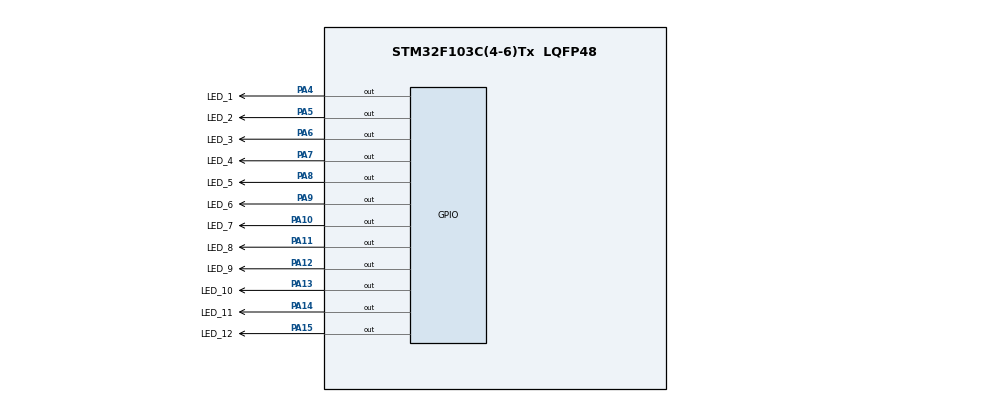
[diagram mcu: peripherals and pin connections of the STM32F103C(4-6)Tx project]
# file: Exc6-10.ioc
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Mcu.Family=STM32F1
Mcu.Name=STM32F103C(4-6)Tx
Mcu.Package=LQFP48
NVIC.PriorityGroup=NVIC_PRIORITYGROUP_4
PA10.GPIO_Label=LED_7
PA10.Signal=GPIO_Output
PA11.GPIO_Label=LED_8
PA11.Signal=GPIO_Output
PA12.GPIO_Label=LED_9
PA12.Signal=GPIO_Output
PA13.GPIO_Label=LED_10
PA13.Signal=GPIO_Output
PA14.GPIO_Label=LED_11
PA14.Signal=GPIO_Output
PA15.GPIO_Label=LED_12
PA15.Signal=GPIO_Output
PA4.GPIO_Label=LED_1
PA4.Signal=GPIO_Output
PA5.GPIO_Label=LED_2
PA5.Signal=GPIO_Output
PA6.GPIO_Label=LED_3
PA6.Signal=GPIO_Output
PA7.GPIO_Label=LED_4
PA7.Signal=GPIO_Output
PA8.GPIO_Label=LED_5
PA8.Signal=GPIO_Output
PA9.GPIO_Label=LED_6
PA9.Signal=GPIO_Output
ProjectManager.HeapSize=0x200
ProjectManager.StackSize=0x400
ProjectManager.TargetToolchain=STM32CubeIDE
RCC.APB1Freq_Value=8000000
RCC.APB2Freq_Value=8000000
VP_SYS_VS_ND.Mode=No_Debug
board=custom

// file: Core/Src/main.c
/* USER CODE BEGIN Header */
/**
  ******************************************************************************
  * @file           : main.c
  * @brief          : Main program body
  ******************************************************************************
  * @attention
  *
  * <h2><center>&copy; Copyright (c) 2023 STMicroelectronics.
  * All rights reserved.</center></h2>
  *
  * This software component is licensed by ST under BSD 3-Clause license,
  * the "License"; You may not use this file except in compliance with the
  * License. You may obtain a copy of the License at:
  *                        opensource.org/licenses/BSD-3-Clause
  *
  ******************************************************************************
  */
/* USER CODE END Header */
#include "main.h"

void SystemClock_Config(void);
static void MX_GPIO_Init(void);

/* USER CODE BEGIN 0 */
void clearAllClock(){
    //TODO
	HAL_GPIO_WritePin(LED_1_GPIO_Port, LED_1_Pin, RESET);
	HAL_GPIO_WritePin(LED_2_GPIO_Port, LED_2_Pin, RESET);
	HAL_GPIO_WritePin(LED_3_GPIO_Port, LED_3_Pin, RESET);
	HAL_GPIO_WritePin(LED_4_GPIO_Port, LED_4_Pin, RESET);
	HAL_GPIO_WritePin(LED_5_GPIO_Port, LED_5_Pin, RESET);
	HAL_GPIO_WritePin(LED_6_GPIO_Port, LED_6_Pin, RESET);
	HAL_GPIO_WritePin(LED_7_GPIO_Port, LED_7_Pin, RESET);
	HAL_GPIO_WritePin(LED_8_GPIO_Port, LED_8_Pin, RESET);
	HAL_GPIO_WritePin(LED_9_GPIO_Port, LED_9_Pin, RESET);
	HAL_GPIO_WritePin(LED_10_GPIO_Port, LED_10_Pin, RESET);
	HAL_GPIO_WritePin(LED_11_GPIO_Port, LED_11_Pin, RESET);
	HAL_GPIO_WritePin(LED_12_GPIO_Port, LED_12_Pin, RESET);
};
void setNumberOnClock(int num){
	switch (num){
		  case 1:
			  HAL_GPIO_WritePin(LED_1_GPIO_Port, LED_1_Pin, SET);
			  break;
		  case 2:
			  HAL_GPIO_WritePin(LED_2_GPIO_Port, LED_2_Pin, SET);
			  break;
		  case 3:
			  HAL_GPIO_WritePin(LED_3_GPIO_Port, LED_3_Pin, SET);
			  break;
		  case 4:
			  HAL_GPIO_WritePin(LED_4_GPIO_Port, LED_4_Pin, SET);
			  break;
		  case 5:
			  HAL_GPIO_WritePin(LED_5_GPIO_Port, LED_5_Pin, SET);
			  break;
		  case 6:
			  HAL_GPIO_WritePin(LED_6_GPIO_Port, LED_6_Pin, SET);
			  break;
		  case 7:
			  HAL_GPIO_WritePin(LED_7_GPIO_Port, LED_7_Pin, SET);
			  break;
		  case 8:
			  HAL_GPIO_WritePin(LED_8_GPIO_Port, LED_8_Pin, SET);
			  break;
		  case 9:
			  HAL_GPIO_WritePin(LED_9_GPIO_Port, LED_9_Pin, SET);
			  break;
		  case 10:
			  HAL_GPIO_WritePin(LED_10_GPIO_Port, LED_10_Pin, SET);
			  break;
		  case 11:
			  HAL_GPIO_WritePin(LED_11_GPIO_Port, LED_11_Pin, SET);
			  break;
		  case 0:
			  HAL_GPIO_WritePin(LED_12_GPIO_Port, LED_12_Pin, SET);
			  break;
		  }
};
void clearNumberOnClock(int num){
	switch (num){
		  case 1:
			  HAL_GPIO_WritePin(LED_1_GPIO_Port, LED_1_Pin, RESET);
			  break;
		  case 2:
			  HAL_GPIO_WritePin(LED_2_GPIO_Port, LED_2_Pin, RESET);
			  break;
		  case 3:
			  HAL_GPIO_WritePin(LED_3_GPIO_Port, LED_3_Pin, RESET);
			  break;
		  case 4:
			  HAL_GPIO_WritePin(LED_4_GPIO_Port, LED_4_Pin, RESET);
			  break;
		  case 5:
			  HAL_GPIO_WritePin(LED_5_GPIO_Port, LED_5_Pin, RESET);
			  break;
		  case 6:
			  HAL_GPIO_WritePin(LED_6_GPIO_Port, LED_6_Pin, RESET);
			  break;
		  case 7:
			  HAL_GPIO_WritePin(LED_7_GPIO_Port, LED_7_Pin, RESET);
			  break;
		  case 8:
			  HAL_GPIO_WritePin(LED_8_GPIO_Port, LED_8_Pin, RESET);
			  break;
		  case 9:
			  HAL_GPIO_WritePin(LED_9_GPIO_Port, LED_9_Pin, RESET);
			  break;
		  case 10:
			  HAL_GPIO_WritePin(LED_10_GPIO_Port, LED_10_Pin, RESET);
			  break;
		  case 11:
			  HAL_GPIO_WritePin(LED_11_GPIO_Port, LED_11_Pin, RESET);
			  break;
		  case 0:
			  HAL_GPIO_WritePin(LED_12_GPIO_Port, LED_12_Pin, RESET);
			  break;
		  }
};
int hourCheck(int h){
	if (h == 12) return 1;
	return 0;
};
int minuteCheck(int m){
	if (m == 60) return 1;
	return 0;
};
int secondCheck(int s){
	if (s == 60) return 1;
	return 0;
};
/* USER CODE END 0 */

int main(void)
{

  /* MCU Configuration--------------------------------------------------------*/

  /* Reset of all peripherals, Initializes the Flash interface and the Systick. */
  HAL_Init();

  /* Configure the system clock */
  SystemClock_Config();

  /* Initialize all configured peripherals */
  MX_GPIO_Init();

  /* Infinite loop */
  /* USER CODE BEGIN WHILE */
  setNumberOnClock(12);
  int h = 0, m = 0, s = 0;
  int rems = 0, remm = 0, remh = 0;
  while (1){
	  if (secondCheck(s)) {
		  s = 0;
		  m++;
	  }
	  clearNumberOnClock(rems);
	  setNumberOnClock(s/5);
	  rems = s/5;
	  if (minuteCheck(m)){
		  m = 0;
		  h++;
	  }
	  clearNumberOnClock(remm);
	  setNumberOnClock(m/5);
	  remm = m/5;
	  if (hourCheck(h)){
		  h = 0;
	  }
	  clearNumberOnClock(remh);
	  setNumberOnClock(h);
	  remh = h;
	  s++;
	  HAL_Delay(10);
    /* USER CODE END WHILE */

  }
}

void SystemClock_Config(void)
{
  RCC_OscInitTypeDef RCC_OscInitStruct = {0};
  RCC_ClkInitTypeDef RCC_ClkInitStruct = {0};

  /** Initializes the RCC Oscillators according to the specified parameters
  * in the RCC_OscInitTypeDef structure.
  */
  RCC_OscInitStruct.OscillatorType = RCC_OSCILLATORTYPE_HSI;
  RCC_OscInitStruct.HSIState = RCC_HSI_ON;
  RCC_OscInitStruct.HSICalibrationValue = RCC_HSICALIBRATION_DEFAULT;
  RCC_OscInitStruct.PLL.PLLState = RCC_PLL_NONE;
  if (HAL_RCC_OscConfig(&RCC_OscInitStruct) != HAL_OK)
  {
    Error_Handler();
  }
  /** Initializes the CPU, AHB and APB buses clocks
  */
  RCC_ClkInitStruct.ClockType = RCC_CLOCKTYPE_HCLK|RCC_CLOCKTYPE_SYSCLK
                              |RCC_CLOCKTYPE_PCLK1|RCC_CLOCKTYPE_PCLK2;
  RCC_ClkInitStruct.SYSCLKSource = RCC_SYSCLKSOURCE_HSI;
  RCC_ClkInitStruct.AHBCLKDivider = RCC_SYSCLK_DIV1;
  RCC_ClkInitStruct.APB1CLKDivider = RCC_HCLK_DIV1;
  RCC_ClkInitStruct.APB2CLKDivider = RCC_HCLK_DIV1;

  if (HAL_RCC_ClockConfig(&RCC_ClkInitStruct, FLASH_LATENCY_0) != HAL_OK)
  {
    Error_Handler();
  }
}

static void MX_GPIO_Init(void)
{
  GPIO_InitTypeDef GPIO_InitStruct = {0};

  /* GPIO Ports Clock Enable */
  __HAL_RCC_GPIOA_CLK_ENABLE();

  /*Configure GPIO pin Output Level */
  HAL_GPIO_WritePin(GPIOA, LED_1_Pin|LED_2_Pin|LED_3_Pin|LED_4_Pin
                          |LED_5_Pin|LED_6_Pin|LED_7_Pin|LED_8_Pin
                          |LED_9_Pin|LED_10_Pin|LED_11_Pin|LED_12_Pin, GPIO_PIN_RESET);

  /*Configure GPIO pins : LED_1_Pin LED_2_Pin LED_3_Pin LED_4_Pin
                           LED_5_Pin LED_6_Pin LED_7_Pin LED_8_Pin
                           LED_9_Pin LED_10_Pin LED_11_Pin LED_12_Pin */
  GPIO_InitStruct.Pin = LED_1_Pin|LED_2_Pin|LED_3_Pin|LED_4_Pin
                          |LED_5_Pin|LED_6_Pin|LED_7_Pin|LED_8_Pin
                          |LED_9_Pin|LED_10_Pin|LED_11_Pin|LED_12_Pin;
  GPIO_InitStruct.Mode = GPIO_MODE_OUTPUT_PP;
  GPIO_InitStruct.Pull = GPIO_NOPULL;
  GPIO_InitStruct.Speed = GPIO_SPEED_FREQ_LOW;
  HAL_GPIO_Init(GPIOA, &GPIO_InitStruct);

}

void Error_Handler(void)
{
  __disable_irq();
  while (1)
  {
  }
}

/************************ (C) COPYRIGHT STMicroelectronics *****END OF FILE****/
